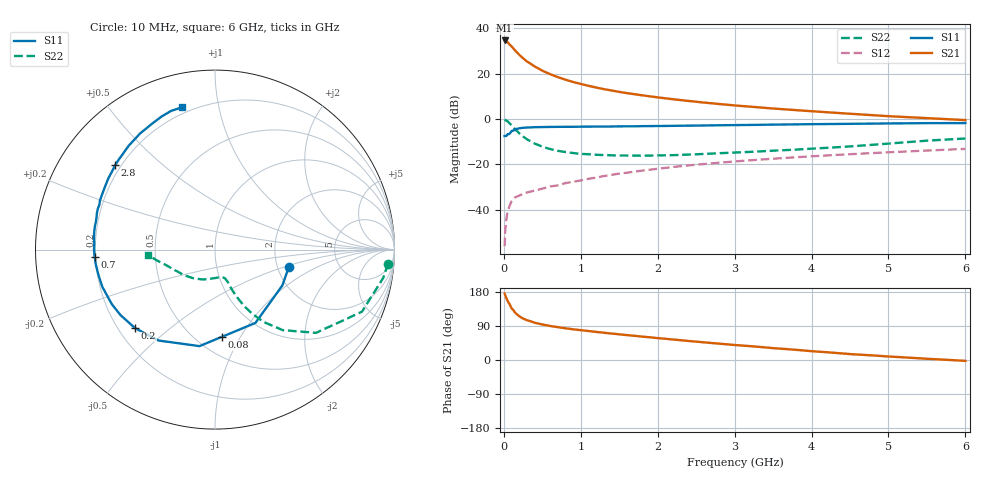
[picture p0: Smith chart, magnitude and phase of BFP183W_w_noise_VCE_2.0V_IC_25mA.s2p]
! Infineon Technologies  Discrete & RF Semiconductors
! BFP183W
! VCE =  2.0 V,  IC =  25 mA
! Common Emitter S-Parameters:  Jan 2017
# GHz  S  MA  R  50
!  f  S11  S21  S12  S22
! GHz  MAG  ANG  MAG  ANG  MAG  ANG  MAG  ANG
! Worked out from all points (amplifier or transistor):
!   77 points, 10 MHz to 6 GHz, reference 50 ohm
!   highest |S21| = 34.5 dB at 10 MHz (marker M1)
!   |S21| within 3 dB of that: start of sweep to 110.8 MHz
!   unconditionally stable (mu >= 1): 883.7 MHz to 3.683 GHz
!   at 130 MHz: K = 0.29, MSG = 32.9 dB, |S12| = -35.1 dB
!   at 2.2 GHz: K = 1.08, MAG = 13.2 dB, |S12| = -21.1 dB
!   at 6 GHz: K = 0.89, MSG = 6.3 dB, |S12| = -13.2 dB
!   lowest NFmin = 1.29 dB at 450 MHz
!   S11 on the Smith chart (normalised r, x): 10 MHz: 2.31, -0.54; 80 MHz: 0.66, -0.84; 200 MHz: 0.27, -0.38; 700 MHz: 0.20, -0.03; 2.8 GHz: 0.18, +0.36; 6 GHz: 0.17, +0.78
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0.01  0.4225 -13.1  53.3 175.5  0.0016 90.6  0.9672 -4.6
0.02  0.4252 -27.9  52.56 169.7  0.0039 82.5  0.9507 -9.5
0.05  0.4665 -61.1  48.56 155.3  0.0093 69.6  0.8889 -22.9
0.08  0.4875 -85.5  42.58 145.0  0.013 62.8  0.7849 -32.1
0.1  0.5446 -99.1  39.55 136.5  0.0155 60.1  0.7293 -39.5
0.15  0.5966 -121.9  31.73 124.2  0.0191 51.5  0.5868 -49.9
0.2  0.6243 -135.5  25.85 115.5  0.0207 45.6  0.4856 -56.1
0.25  0.6407 -145.3  21.62 109.4  0.0227 44.0  0.4125 -59.9
0.3  0.6503 -152.2  18.46 105.0  0.0242 44.8  0.3582 -62.5
0.4  0.661 -161.6  14.27 98.3  0.0266 46.4  0.2885 -65.4
0.5  0.6651 -168.1  11.55 93.7  0.0294 48.9  0.2466 -66.9
0.6  0.6691 -172.9  9.714 89.9  0.0328 49.6  0.2189 -67.9
0.7  0.6723 -176.6  8.349 86.7  0.0347 53.1  0.1998 -68.3
0.9  0.6738 176.8  6.514 81.1  0.0415 56.4  0.1785 -69.9
1.1  0.68 171.6  5.364 76.5  0.0485 58.3  0.1679 -71.5
1.5  0.6884 163.0  3.948 67.8  0.063 59.8  0.1575 -77.6
2.1  0.7037 151.4  2.85 56.0  0.0842 59.3  0.1591 -91.3
2.8  0.7281 139.8  2.133 43.1  0.1094 56.8  0.1769 -110.1
3.1  0.7372 135.3  1.927 38.1  0.1199 55.1  0.186 -118.1
4.1  0.7721 121.6  1.445 21.9  0.1546 49.2  0.2272 -142.7
5.1  0.801 111.0  1.13 8.1  0.1887 42.7  0.2966 -164.4
6  0.8134 103.2  0.946 -2.3  0.2199 36.6  0.3726 -175.2
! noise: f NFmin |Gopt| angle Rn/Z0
0.45  1.29  0.25  177  0.1
0.9  1.32  0.28  180  0.09
1.9  1.8  0.43  -158  0.09
2.4  2.04  0.48  -154  0.13
